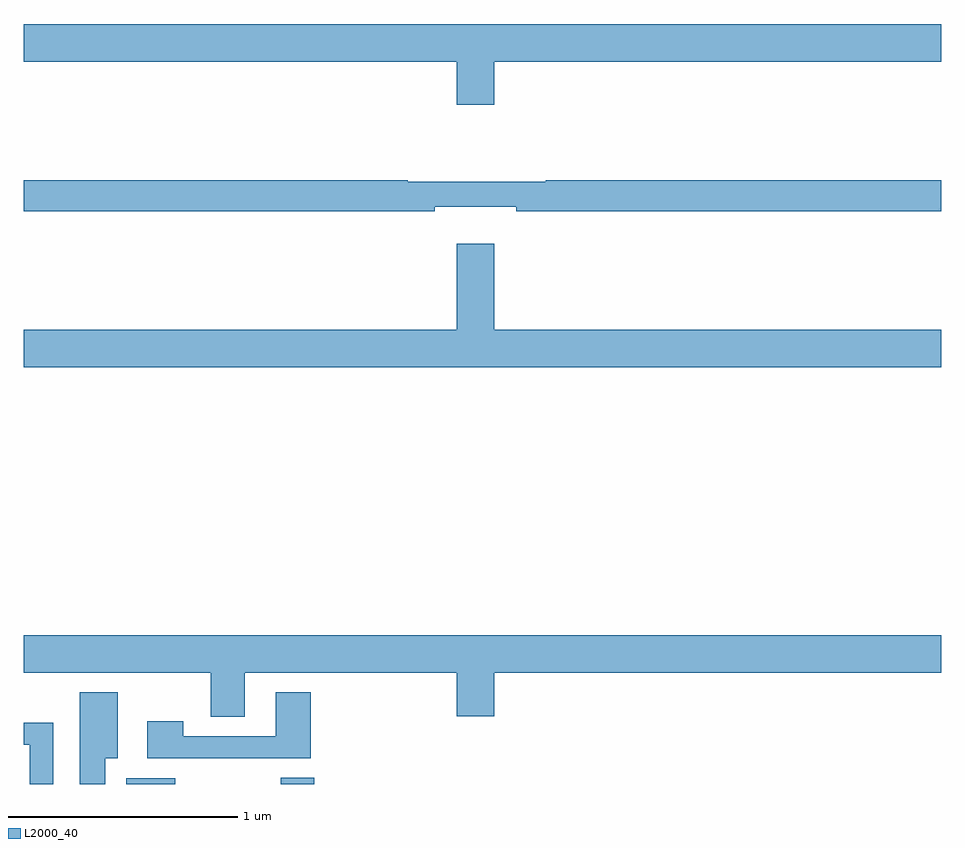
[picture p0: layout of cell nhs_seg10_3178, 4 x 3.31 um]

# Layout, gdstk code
import gdstk
lib = gdstk.Library(unit=1e-6, precision=1e-09)
def R(c, l, rs):  # rectangles x0, y0, x1, y1
    for r in rs: c.add(gdstk.rectangle(r[:2], r[2:], *l))
def P(c, l, *ps):  # polygons
    for p in ps: c.add(gdstk.Polygon(p, *l))
L2000_40 = (2000, 40)

nhs_seg10_3178 = lib.new_cell('nhs_seg10_3178')
R(nhs_seg10_3178, L2000_40, [(283.448,1298.5,283.66,1298.524), (284.12,1298.5,284.267,1298.528)])
P(nhs_seg10_3178, L2000_40, [(285.052,1301.648),(287,1301.648),(287,1301.812),(283,1301.812),(283,1301.648),(284.888,1301.648),(284.888,1301.46),(285.052,1301.46)],
  [(284.792,1301.015),(285.148,1301.015),(285.148,1300.996),(287,1300.996),(287,1301.132),(285.275,1301.132),(285.275,1301.125),(284.675,1301.125),(284.675,1301.132),(283,1301.132),(283,1300.996),(284.792,1300.996)],
  [(287,1300.48),(285.052,1300.48),(285.052,1300.855),(284.888,1300.855),(284.888,1300.48),(283,1300.48),(283,1300.316),(287,1300.316)],
  [(283.963,1298.984),(284.888,1298.984),(284.888,1298.796),(285.052,1298.796),(285.052,1298.984),(287,1298.984),(287,1299.148),(283,1299.148),(283,1298.984),(283.816,1298.984),(283.816,1298.794),(283.963,1298.794)],
  [(284.252,1298.899),(284.099,1298.899),(284.099,1298.709),(283.695,1298.709),(283.695,1298.773),(283.539,1298.773),(283.539,1298.613),(284.252,1298.613)],
  [(283.357,1298.612),(283.411,1298.612),(283.411,1298.899),(283.244,1298.899),(283.244,1298.5),(283.357,1298.5)],
  [(283.129,1298.768),(283,1298.768),(283,1298.67),(283.028,1298.67),(283.028,1298.5),(283.129,1298.5)])

lib.write_gds('nhs_seg10_3178.gds')
